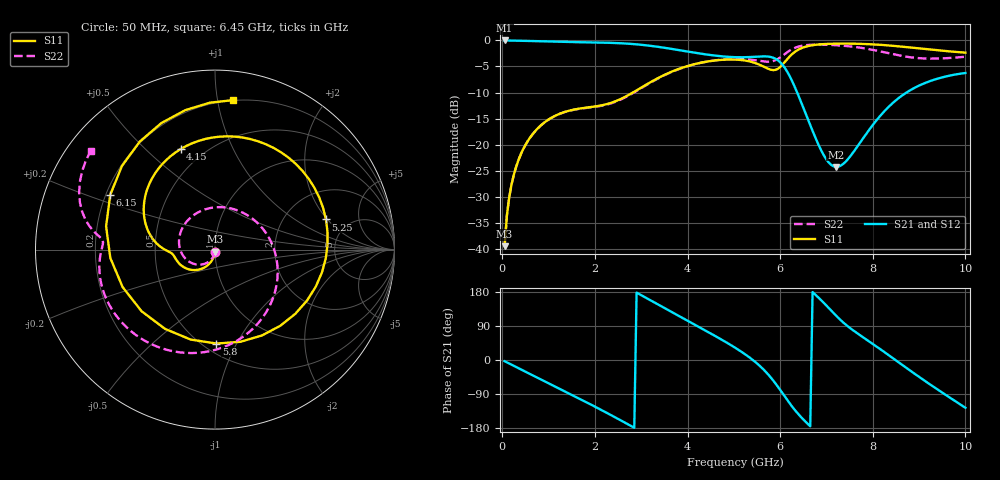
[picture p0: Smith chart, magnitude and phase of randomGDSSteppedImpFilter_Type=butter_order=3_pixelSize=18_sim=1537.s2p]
! freq	dB(S11)	phase(S11)	dB(S12)	phase(S12)
!  dB(S21)	phase(S21)	dB(S22)	phase(S22)
!S-par simulation data
#  GHz  S  DB  R 50
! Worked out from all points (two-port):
!   200 points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, 50 MHz to 10 GHz, reference 50 ohm
!   highest |S21| = -0.01 dB at 50 MHz (marker M1); lowest = -24.2 dB at 7.2 GHz (marker M2)
!   |S21| within 3 dB of the highest: start of sweep to 4.69 GHz
!   lowest |S11| = -39.5 dB at 50 MHz (marker M3), VSWR 1.02, Z = 49.9 - j1.06 ohm
!   |S11| at or under -10 dB: start of sweep to 2.819 GHz
!   |S22| runs from -39.5 to -0.8 dB; largest |S21 - S12| = 0
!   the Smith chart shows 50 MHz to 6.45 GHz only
!   S11 on the Smith chart (normalised r, x): 50 MHz: 1.00, -0.02; 4.15 GHz: 0.37, +0.65; 5.25 GHz: 3.39, +1.93; 5.8 GHz: 0.58, -0.83; 6.15 GHz: 0.22, +0.23; 6.45 GHz: 0.20, +1.11
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0.05  -39.45 -92.2  -0.01 -3.1  -0.01 -3.1  -39.47 -93.2
0.2  -27.62 -100.4  -0.03 -12.4  -0.03 -12.4  -27.63 -104.5
0.5  -20.05 -116.0  -0.08 -30.9  -0.08 -30.9  -20.06 -126.7
1.15  -14.42 -146.2  -0.24 -70.6  -0.24 -70.6  -14.43 -176.3
1.75  -12.97 -166.7  -0.35 -107.4  -0.35 -107.4  -13.02 130.7
2.65  -10.83 179.1  -0.59 -165.4  -0.59 -165.4  -10.94 28.6
3.4  -7.06 153.3  -1.27 143.9  -1.27 143.9  -7.13 -47.0
4.15  -4.56 108.9  -2.35 93.5  -2.35 93.5  -4.57 -102.6
5.05  -3.68 37.0  -3.22 30.7  -3.22 30.7  -3.55 -154.9
5.25  -3.87 15.2  -3.22 14.5  -3.22 14.5  -3.61 -165.1
5.55  -4.64 -29.0  -3.09 -14.4  -3.09 -14.4  -3.92 -178.1
5.8  -5.62 -89.2  -3.19 -46.4  -3.19 -46.4  -4.04 175.3
6.15  -3.63 152.4  -5.95 -105.1  -5.95 -105.1  -2.27 164.1
6.45  -1.52 83.0  -11.77 -150.6  -11.77 -150.6  -1.06 141.4
6.7  -0.92 46.9  -17.34 179.4  -17.34 179.4  -0.81 121.2
7.2  -0.62 -0.3  -24.25 118.0  -24.25 118.0  -0.91 79.0
7.85  -0.69 -43.0  -18.04 55.0  -18.04 55.0  -1.57 11.0
8.35  -0.97 -69.4  -12.68 12.3  -12.68 12.3  -2.47 -56.0
8.7  -1.26 -85.7  -10.15 -18.6  -10.15 -18.6  -3.09 -108.1
9.15  -1.66 -104.4  -8.09 -57.2  -8.09 -57.2  -3.48 -175.0
9.6  -2.05 -121.6  -6.87 -94.2  -6.87 -94.2  -3.40 122.1
10  -2.34 -136.1  -6.25 -126.0  -6.25 -126.0  -3.13 69.7
